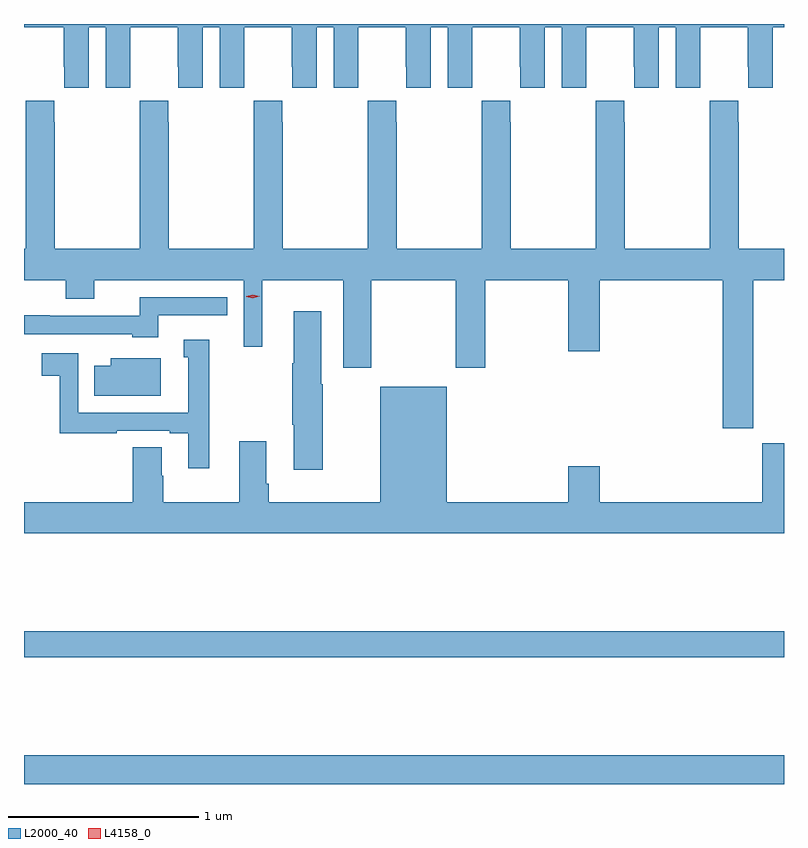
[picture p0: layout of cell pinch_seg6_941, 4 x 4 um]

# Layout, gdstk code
import gdstk
lib = gdstk.Library(unit=1e-6, precision=1e-09)
def R(c, l, rs):  # rectangles x0, y0, x1, y1
    for r in rs: c.add(gdstk.rectangle(r[:2], r[2:], *l))
def P(c, l, *ps):  # polygons
    for p in ps: c.add(gdstk.Polygon(p, *l))
L2000_40 = (2000, 40)
L4158_0 = (4158, 0)

pinch_seg6_941 = lib.new_cell('pinch_seg6_941')
R(pinch_seg6_941, L2000_40, [(246.059,919.376,250.059,919.528), (246.059,920.044,250.059,920.18)])
P(pinch_seg6_941, L2000_40, [(246.4,923.36),(246.488,923.36),(246.488,923.04),(246.618,923.04),(246.618,923.152),(246.619,923.152),(246.619,923.36),(246.869,923.36),(246.869,923.152),(246.87,923.152),(246.87,923.04),(247,923.04),(247,923.36),(247.088,923.36),(247.088,923.04),(247.218,923.04),(247.218,923.152),(247.219,923.152),(247.219,923.36),(247.469,923.36),(247.469,923.152),(247.47,923.152),(247.47,923.04),(247.6,923.04),(247.6,923.36),(247.688,923.36),(247.688,923.04),(247.818,923.04),(247.818,923.152),(247.819,923.152),(247.819,923.36),(248.069,923.36),(248.069,923.152),(248.07,923.152),(248.07,923.04),(248.2,923.04),(248.2,923.36),(248.288,923.36),(248.288,923.04),(248.418,923.04),(248.418,923.152),(248.419,923.152),(248.419,923.36),(248.669,923.36),(248.669,923.152),(248.67,923.152),(248.67,923.04),(248.8,923.04),(248.8,923.36),(248.888,923.36),(248.888,923.04),(249.018,923.04),(249.018,923.152),(249.019,923.152),(249.019,923.36),(249.269,923.36),(249.269,923.152),(249.27,923.152),(249.27,923.04),(249.4,923.04),(249.4,923.36),(249.488,923.36),(249.488,923.04),(249.618,923.04),(249.618,923.152),(249.619,923.152),(249.619,923.36),(249.869,923.36),(249.869,923.152),(249.87,923.152),(249.87,923.04),(250,923.04),(250,923.36),(250.059,923.36),(250.059,923.376),(246.059,923.376),(246.059,923.36),(246.269,923.36),(246.269,923.152),(246.27,923.152),(246.27,923.04),(246.4,923.04)],
  [(246.222,922.859),(246.219,922.859),(246.219,922.972),(246.069,922.972),(246.069,922.859),(246.067,922.859),(246.067,922.192),(246.059,922.192),(246.059,922.028),(246.278,922.028),(246.278,921.929),(246.43,921.929),(246.43,922.028),(247.215,922.028),(247.215,921.678),(247.312,921.678),(247.312,922.028),(247.739,922.028),(247.739,921.567),(247.887,921.567),(247.887,922.028),(248.332,922.028),(248.332,921.567),(248.487,921.567),(248.487,922.028),(248.924,922.028),(248.924,921.654),(249.088,921.654),(249.088,922.028),(249.737,922.028),(249.737,921.249),(249.897,921.249),(249.897,922.028),(250.059,922.028),(250.059,922.192),(249.822,922.192),(249.822,922.859),(249.819,922.859),(249.819,922.972),(249.669,922.972),(249.669,922.859),(249.667,922.859),(249.667,922.192),(249.222,922.192),(249.222,922.859),(249.219,922.859),(249.219,922.972),(249.069,922.972),(249.069,922.859),(249.067,922.859),(249.067,922.192),(248.622,922.192),(248.622,922.859),(248.619,922.859),(248.619,922.972),(248.469,922.972),(248.469,922.859),(248.467,922.859),(248.467,922.192),(248.022,922.192),(248.022,922.859),(248.019,922.859),(248.019,922.972),(247.869,922.972),(247.869,922.859),(247.867,922.859),(247.867,922.192),(247.422,922.192),(247.422,922.859),(247.419,922.859),(247.419,922.972),(247.269,922.972),(247.269,922.859),(247.267,922.859),(247.267,922.192),(246.822,922.192),(246.822,922.859),(246.819,922.859),(246.819,922.972),(246.669,922.972),(246.669,922.859),(246.667,922.859),(246.667,922.192),(246.222,922.192)],
  [(246.766,921.843),(247.13,921.843),(247.13,921.939),(246.667,921.939),(246.667,921.84),(246.194,921.84),(246.194,921.842),(246.059,921.842),(246.059,921.744),(246.63,921.744),(246.63,921.728),(246.766,921.728)],
  [(247.632,921.479),(247.624,921.479),(247.624,921.865),(247.478,921.865),(247.478,921.59),(247.471,921.59),(247.471,921.268),(247.478,921.268),(247.478,921.03),(247.632,921.03)],
  [(247.033,921.715),(246.899,921.715),(246.899,921.621),(246.923,921.621),(246.923,921.33),(246.345,921.33),(246.345,921.642),(246.153,921.642),(246.153,921.526),(246.247,921.526),(246.247,921.222),(246.548,921.222),(246.548,921.234),(246.827,921.234),(246.827,921.222),(246.923,921.222),(246.923,921.039),(247.033,921.039)],
  [(246.778,921.616),(246.515,921.616),(246.515,921.577),(246.43,921.577),(246.43,921.419),(246.778,921.419)],
  [(250.059,921.169),(249.944,921.169),(249.944,920.86),(249.088,920.86),(249.088,921.049),(248.924,921.049),(248.924,920.86),(248.284,920.86),(248.284,921.466),(247.934,921.466),(247.934,920.86),(247.346,920.86),(247.346,920.956),(247.333,920.956),(247.333,921.181),(247.193,921.181),(247.193,920.86),(246.792,920.86),(246.792,920.999),(246.784,920.999),(246.784,921.149),(246.632,921.149),(246.632,920.86),(246.059,920.86),(246.059,920.696),(250.059,920.696)])
P(pinch_seg6_941, L4158_0, [(247.264,921.932),(247.229,921.941),(247.229,921.941),(247.229,921.942),(247.264,921.952),(247.299,921.943),(247.299,921.943),(247.299,921.943)])

lib.write_gds('pinch_seg6_941.gds')
